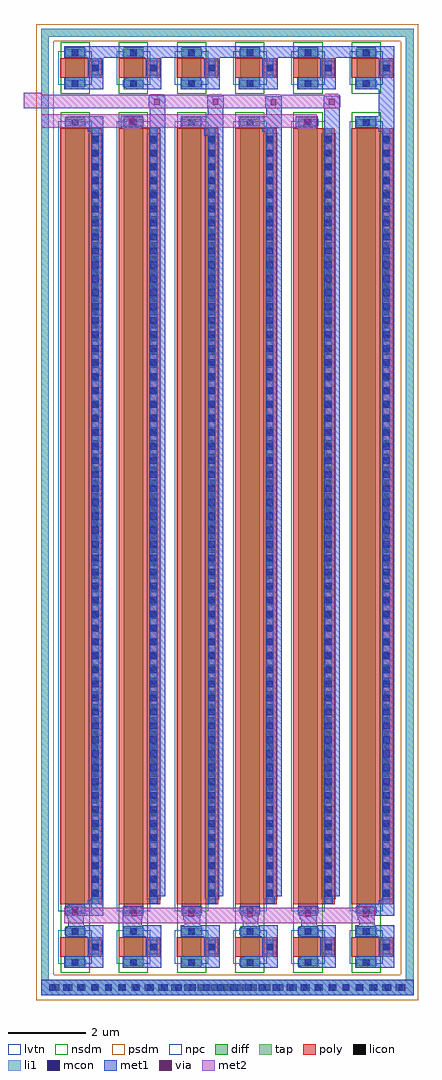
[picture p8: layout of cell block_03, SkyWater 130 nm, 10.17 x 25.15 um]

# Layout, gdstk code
from math import pi, radians
import gdstk
lib = gdstk.Library(unit=1e-6, precision=1e-09)
def R(c, l, rs):  # rectangles x0, y0, x1, y1
    for r in rs: c.add(gdstk.rectangle(r[:2], r[2:], *l))
def A(c, l, x, y, w, h, nx, ny, dx, dy):  # array of equal rectangles
    R(c, l, [(x+i*dx, y+j*dy, x+i*dx+w, y+j*dy+h) for i in range(nx) for j in range(ny)])
diff = (65, 20)
tap = (65, 44)
poly = (66, 20)
licon = (66, 44)
li1 = (67, 20)
mcon = (67, 44)
met1 = (68, 20)
via = (68, 44)
met2 = (69, 20)
nsdm = (93, 44)
psdm = (94, 20)
npc = (95, 20)
lvtn = (125, 44)

sky130_fd_pr__nfet_01v8_ = lib.new_cell('sky130_fd_pr__nfet_01v8_lvt_N42WW9')
R(sky130_fd_pr__nfet_01v8_, diff, [(-10.29,-0.405,10.29,0.095)])
R(sky130_fd_pr__nfet_01v8_, poly, [(-10,-0.535,10,0.535)])
A(sky130_fd_pr__nfet_01v8_, licon, -9.775, 0.285, 0.17, 0.17, 58, 1, 0.34, 0)
R(sky130_fd_pr__nfet_01v8_, licon, [(-10.23,-0.24,-10.06,-0.07), (10.06,-0.24,10.23,-0.07)])
R(sky130_fd_pr__nfet_01v8_, li1, [(-10.23,-0.425,-10.06,0.115), (10.06,-0.425,10.23,0.115), (-10,0.285,10,0.455)])
A(sky130_fd_pr__nfet_01v8_, mcon, -9.805, 0.285, 0.17, 0.17, 55, 1, 0.36, 0)
R(sky130_fd_pr__nfet_01v8_, mcon, [(-10.23,-0.24,-10.06,-0.07), (10.06,-0.24,10.23,-0.07)])
R(sky130_fd_pr__nfet_01v8_, met1, [(-10.26,-0.405,-10.03,0.095), (10.03,-0.405,10.26,0.095), (-9.98,0.255,9.98,0.485)])
R(sky130_fd_pr__nfet_01v8_, nsdm, [(-10.415,-0.53,10.415,0.22)])
R(sky130_fd_pr__nfet_01v8_, npc, [(-9.875,0.185,9.875,0.555)])
R(sky130_fd_pr__nfet_01v8_, lvtn, [(-10.18,-0.585,10.18,0.275)])

c_sky130_fd_pr__nfet_01v8_ = lib.new_cell('sky130_fd_pr__nfet_01v8_lvt_BX6RT7')
R(c_sky130_fd_pr__nfet_01v8_, diff, [(-0.54,-0.405,0.54,0.095)])
R(c_sky130_fd_pr__nfet_01v8_, poly, [(-0.25,-0.535,0.25,0.535)])
R(c_sky130_fd_pr__nfet_01v8_, licon, [(-0.48,-0.24,-0.31,-0.07), (0.31,-0.24,0.48,-0.07), (-0.085,0.285,0.085,0.455)])
R(c_sky130_fd_pr__nfet_01v8_, li1, [(-0.48,-0.425,-0.31,0.115), (0.31,-0.425,0.48,0.115), (-0.25,0.285,0.25,0.455)])
R(c_sky130_fd_pr__nfet_01v8_, mcon, [(-0.48,-0.24,-0.31,-0.07), (0.31,-0.24,0.48,-0.07), (-0.085,0.285,0.085,0.455)])
R(c_sky130_fd_pr__nfet_01v8_, met1, [(-0.51,-0.405,-0.28,0.095), (0.28,-0.405,0.51,0.095), (-0.23,0.255,0.23,0.485)])
R(c_sky130_fd_pr__nfet_01v8_, nsdm, [(-0.665,-0.53,0.665,0.22)])
R(c_sky130_fd_pr__nfet_01v8_, npc, [(-0.185,0.185,0.185,0.555)])
R(c_sky130_fd_pr__nfet_01v8_, lvtn, [(-0.43,-0.585,0.43,0.275)])

block_03 = lib.new_cell('block_03')
R(block_03, tap, [(-3.5,-2.05,6.1,-1.65), (-3.5,-1.65,-3.3,22.65), (5.9,-1.65,6.1,22.65), (-3.5,22.65,6.1,22.85)])
A(block_03, licon, -3.205, -1.935, 0.17, 0.17, 27, 1, 0.34, 0)
R(block_03, li1, [(-3.5,-2.05,6.1,-1.65), (-3.5,-1.65,-3.3,22.65), (5.9,-1.65,6.1,22.65), (-3.5,22.65,6.1,22.85)])
A(block_03, mcon, -3.285, -1.935, 0.17, 0.17, 26, 1, 0.36, 0)
A(block_03, met1, -2.9, -1.35, 1, 0.3, 3, 1, 1.5, 0)
A(block_03, met1, -2.3, -1.05, 0.4, 0.5, 6, 2, 1.5, 22.65)
A(block_03, met1, 0.1, 21.3, 1, 0.3, 4, 1, 1.5, 0)
R(block_03, met1, [(-3.5,-2.05,6.1,-1.65), (1.7,-1.35,2.6,-1.05), (3.2,-1.35,4.1,-1.05), (4.6,-1.35,5.6,-1.05), (-2.8,-0.55,-1.9,-0.25), (-1.4,-0.55,-0.4,-0.25), (0.1,-0.55,1.1,-0.25), (1.7,-0.55,2.6,-0.25), (3.2,-0.55,4.1,-0.25), (4.6,-0.55,5.6,-0.25), (-2.8,-0.25,-2.4,-0.055), (-1.4,-0.25,-0.9,-0.085), (0.2,-0.25,0.6,-0.105), (1.7,-0.25,2.1,-0.115), (3.2,-0.25,3.6,-0.1), (4.7,-0.25,5.1,-0.11), (1.675,-0.115,2.1,0.18), (4.66,-0.11,5.1,0), (0.16,-0.105,0.6,0.19), (3.17,-0.1,3.6,0.195), (-1.4,-0.085,-0.89,0.2), (-2.825,-0.055,-2.4,0), (-2.825,0,-1.9,0.24), (4.66,0,5.6,0.185), (1.7,0.18,2.1,0.2), (4.7,0.185,5.6,0.3), (0.2,0.19,0.6,0.2), (3.2,0.195,3.6,0.2), (-1.315,0.2,-0.89,0.21), (-2.8,0.24,-1.9,0.3), (-2.3,0.3,-1.9,0.4), (5.2,0.3,5.6,0.4), (-2.2,0.4,-1.9,20.2), (5.3,0.4,5.6,20.2), (-0.7,0.5,-0.3,20.825), (0.8,0.5,1.2,20.1), (2.3,0.5,2.7,20.2), (3.8,0.5,4.2,20.83), (0.7,20.1,1.2,20.3), (-2.3,20.2,-1.9,20.3), (2.2,20.2,2.7,20.3), (5.2,20.2,5.6,20.3), (-2.8,20.3,-1.9,20.6), (0.1,20.3,1.2,20.6), (1.6,20.3,2.7,20.6), (4.6,20.3,5.6,20.6), (3.065,20.32,3.63,20.6), (-1.44,20.325,-0.875,20.605), (0.8,20.6,1.2,20.825), (2.3,20.6,2.7,20.815), (5.2,20.6,5.6,21.3), (2.28,20.815,2.705,21.11), (-0.72,20.825,-0.295,21.12), (0.785,20.825,1.21,21.12), (3.78,20.83,4.205,21.125), (-0.7,21.12,-0.3,21.145), (-2.9,21.3,-1.9,21.6), (-1.3,21.3,-0.4,21.6), (-2.9,22.1,5.6,22.4)])
R(block_03, via, [(1.81,-0.045,1.96,0.105), (4.795,-0.04,4.945,0.11), (0.295,-0.035,0.445,0.115), (3.305,-0.03,3.455,0.12), (-1.18,-0.015,-1.03,0.135), (-2.69,0.015,-2.54,0.165), (3.27,20.385,3.42,20.535), (-1.235,20.39,-1.085,20.54), (2.415,20.885,2.565,21.035), (-0.585,20.895,-0.435,21.045), (0.92,20.895,1.07,21.045), (3.915,20.9,4.065,21.05)])
R(block_03, met2, [(-2.9,-0.2,5.1,0.2), (-2.775,0.2,-2.45,0.29), (-1.265,0.2,-0.94,0.26), (0.21,0.2,0.535,0.24), (1.725,0.2,2.05,0.23), (3.22,0.2,3.545,0.245), (4.71,0.2,5.035,0.235), (3.115,20.27,3.58,20.3), (-1.39,20.275,-0.925,20.3), (-3.5,20.3,3.6,20.65), (-1.39,20.65,-0.925,20.655), (-3.95,20.8,4.2,21.15), (-3.95,21.15,-3.5,21.2), (-0.67,21.15,-0.345,21.17), (0.835,21.15,1.16,21.17), (2.33,21.15,2.655,21.16), (3.83,21.15,4.155,21.175)])
A(block_03, nsdm, -2.995, -0.145, 0.75, 0.02, 6, 1, 1.5, 0)
R(block_03, psdm, [(-3.625,-2.175,6.225,-1.525), (-3.625,-1.525,-3.175,22.525), (5.775,-1.525,6.225,22.525), (-3.625,22.525,6.225,22.975)])
block_03.add(gdstk.Reference(sky130_fd_pr__nfet_01v8_, (5.035,10.29), rotation=3*pi/2))
block_03.add(gdstk.Reference(c_sky130_fd_pr__nfet_01v8_, (5.035,-0.81), rotation=3*pi/2))
block_03.add(gdstk.Reference(sky130_fd_pr__nfet_01v8_, (3.535,10.29), rotation=3*pi/2))
block_03.add(gdstk.Reference(c_sky130_fd_pr__nfet_01v8_, (3.535,21.84), rotation=3*pi/2))
block_03.add(gdstk.Reference(c_sky130_fd_pr__nfet_01v8_, (-2.465,-0.81), rotation=3*pi/2))
block_03.add(gdstk.Reference(c_sky130_fd_pr__nfet_01v8_, (-2.465,21.84), rotation=3*pi/2))
block_03.add(gdstk.Reference(c_sky130_fd_pr__nfet_01v8_, (5.035,21.84), rotation=3*pi/2))
block_03.add(gdstk.Reference(sky130_fd_pr__nfet_01v8_, (2.035,10.29), rotation=3*pi/2))
block_03.add(gdstk.Reference(c_sky130_fd_pr__nfet_01v8_, (-0.965,-0.81), rotation=3*pi/2))
block_03.add(gdstk.Reference(c_sky130_fd_pr__nfet_01v8_, (-0.965,21.84), rotation=3*pi/2))
block_03.add(gdstk.Reference(sky130_fd_pr__nfet_01v8_, (-2.465,10.29), rotation=3*pi/2))
block_03.add(gdstk.Reference(c_sky130_fd_pr__nfet_01v8_, (0.535,21.84), rotation=3*pi/2))
block_03.add(gdstk.Reference(c_sky130_fd_pr__nfet_01v8_, (0.535,-0.81), rotation=3*pi/2))
block_03.add(gdstk.Reference(c_sky130_fd_pr__nfet_01v8_, (3.535,-0.81), rotation=3*pi/2))
block_03.add(gdstk.Reference(sky130_fd_pr__nfet_01v8_, (0.535,10.29), rotation=3*pi/2))
block_03.add(gdstk.Reference(sky130_fd_pr__nfet_01v8_, (-0.965,10.29), rotation=3*pi/2))
block_03.add(gdstk.Reference(c_sky130_fd_pr__nfet_01v8_, (2.035,-0.81), rotation=3*pi/2))
block_03.add(gdstk.Reference(c_sky130_fd_pr__nfet_01v8_, (2.035,21.84), rotation=3*pi/2))

lib.write_gds('block_03.gds')
